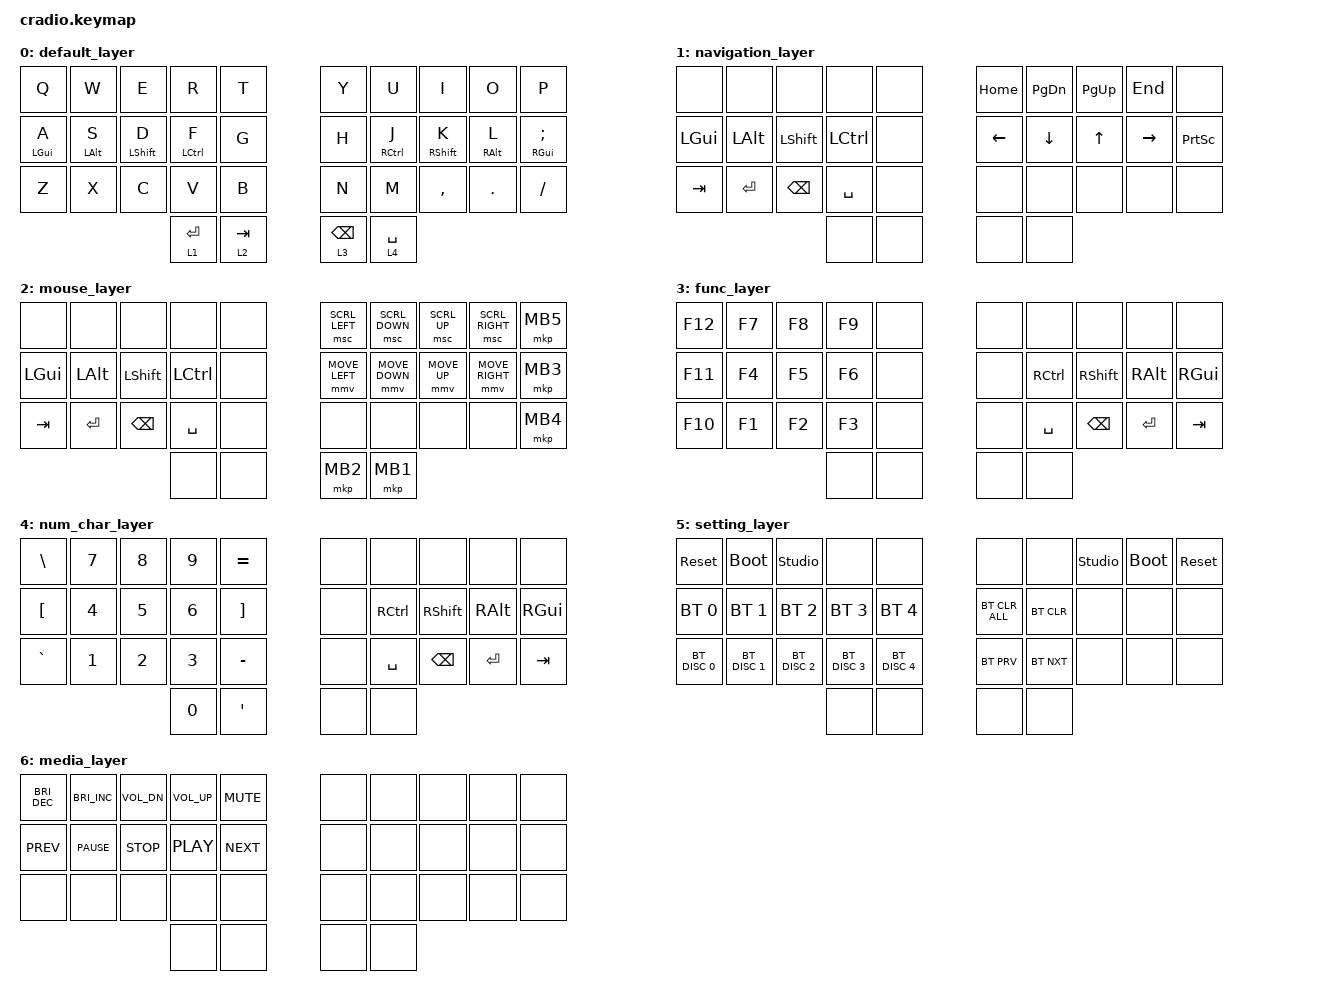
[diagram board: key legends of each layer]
// Copyright (c) 2022 The ZMK Contributors
// SPDX-License-Identifier: MIT

#define ZMK_POINTING_DEFAULT_MOVE_VAL 1500  // default: 600
#define ZMK_POINTING_DEFAULT_SCRL_VAL 20    // default: 10

#include <behaviors.dtsi>
#include <dt-bindings/zmk/bt.h>
#include <dt-bindings/zmk/keys.h>
#include <dt-bindings/zmk/pointing.h>

&lt { quick-tap-ms = <175>; };

/ {
    behaviors {
        hr: home_row {
            compatible = "zmk,behavior-hold-tap";
            label = "HOME_ROW";
            bindings = <&kp>, <&kp>;

            #binding-cells = <2>;
            tapping-term-ms = <200>;
            quick-tap-ms = <175>;
            flavor = "balanced";
        };
    };

    conditional_layers { compatible = "zmk,conditional-layers"; };

    combos {
        compatible = "zmk,combos";

        caps {
            bindings = <&kp CAPSLOCK>;
            key-positions = <12 17>;
            layers = <0>;
            timeout-ms = <30>;
        };

        escape {
            bindings = <&kp ESC>;
            key-positions = <30 31>;
            timeout-ms = <30>;
            layers = <0>;
        };

        delete {
            bindings = <&kp DELETE>;
            key-positions = <32 33>;
            timeout-ms = <30>;
            layers = <0>;
        };

        setting_layer {
            bindings = <&mo 5>;
            key-positions = <30 33>;
            timeout-ms = <30>;
            layers = <0>;
        };

        media_layer {
            bindings = <&mo 6>;
            key-positions = <31 32>;
            timeout-ms = <30>;
            layers = <0>;
        };
    };

    keymap {
        compatible = "zmk,keymap";

        default_layer {
            bindings = <
&kp Q           &kp W           &kp E             &kp R               &kp T        &kp Y            &kp U                &kp I              &kp O            &kp P
&hr LEFT_GUI A  &hr LEFT_ALT S  &hr LEFT_SHIFT D  &hr LEFT_CONTROL F  &kp G        &kp H            &hr RIGHT_CONTROL J  &hr RIGHT_SHIFT K  &hr RIGHT_ALT L  &hr RIGHT_GUI SEMICOLON
&kp Z           &kp X           &kp C             &kp V               &kp B        &kp N            &kp M                &kp COMMA          &kp DOT          &kp FSLH
                                                  &lt 1 ENTER         &lt 2 TAB    &lt 3 BACKSPACE  &lt 4 SPACE
            >;
        };

        navigation_layer {
            bindings = <
&none         &none         &none           &none             &none    &kp HOME        &kp PAGE_DOWN   &kp PAGE_UP   &kp END          &none
&kp LEFT_GUI  &kp LEFT_ALT  &kp LEFT_SHIFT  &kp LEFT_CONTROL  &none    &kp LEFT_ARROW  &kp DOWN_ARROW  &kp UP_ARROW  &kp RIGHT_ARROW  &kp PRINTSCREEN
&kp TAB       &kp ENTER     &kp BACKSPACE   &kp SPACE         &none    &none           &none           &none         &none            &none
                                            &none             &none    &none           &none
            >;
        };

        mouse_layer {
            bindings = <
&none         &none         &none           &none             &none    &msc SCRL_LEFT  &msc SCRL_DOWN  &msc SCRL_UP  &msc SCRL_RIGHT  &mkp MB5
&kp LEFT_GUI  &kp LEFT_ALT  &kp LEFT_SHIFT  &kp LEFT_CONTROL  &none    &mmv MOVE_LEFT  &mmv MOVE_DOWN  &mmv MOVE_UP  &mmv MOVE_RIGHT  &mkp MB3
&kp TAB       &kp ENTER     &kp BACKSPACE   &kp SPACE         &none    &none           &none           &none         &none            &mkp MB4
                                            &none             &none    &mkp MB2        &mkp MB1
            >;
        };

        func_layer {
            bindings = <
&kp F12  &kp F7  &kp F8  &kp F9  &none    &none  &none      &none      &none      &none
&kp F11  &kp F4  &kp F5  &kp F6  &none    &none  &kp RCTRL  &kp RSHFT  &kp RALT   &kp RGUI
&kp F10  &kp F1  &kp F2  &kp F3  &none    &none  &kp SPACE  &kp BSPC   &kp ENTER  &kp TAB
                         &none   &none    &none  &none
            >;
        };

        num_char_layer {
            bindings = <
&kp BSLH   &kp N7  &kp N8  &kp N9  &kp EQUAL    &none  &none      &none      &none      &none
&kp LBKT   &kp N4  &kp N5  &kp N6  &kp RBKT     &none  &kp RCTRL  &kp RSHFT  &kp RALT   &kp RGUI
&kp GRAVE  &kp N1  &kp N2  &kp N3  &kp MINUS    &none  &kp SPACE  &kp BSPC   &kp ENTER  &kp TAB
                           &kp N0  &kp APOS     &none  &none
            >;
        };

        setting_layer {
            bindings = <
&sys_reset     &bootloader    &studio_unlock  &none          &none            &none           &none       &studio_unlock  &bootloader  &sys_reset
&bt BT_SEL 0   &bt BT_SEL 1   &bt BT_SEL 2    &bt BT_SEL 3   &bt BT_SEL 4     &bt BT_CLR_ALL  &bt BT_CLR  &none           &none        &none
&bt BT_DISC 0  &bt BT_DISC 1  &bt BT_DISC 2   &bt BT_DISC 3  &bt BT_DISC 4    &bt BT_PRV      &bt BT_NXT  &none           &none        &none
                                              &none          &none            &none           &none
            >;
        };

        media_layer {
            bindings = <
&kp C_BRI_DEC  &kp C_BRI_INC  &kp C_VOL_DN  &kp C_VOL_UP  &kp C_MUTE    &none  &none  &none  &none  &none
&kp C_PREV     &kp C_PAUSE    &kp C_STOP    &kp C_PLAY    &kp C_NEXT    &none  &none  &none  &none  &none
&none          &none          &none         &none         &none         &none  &none  &none  &none  &none
                                            &none         &none         &none  &none
            >;
        };
    };
};
